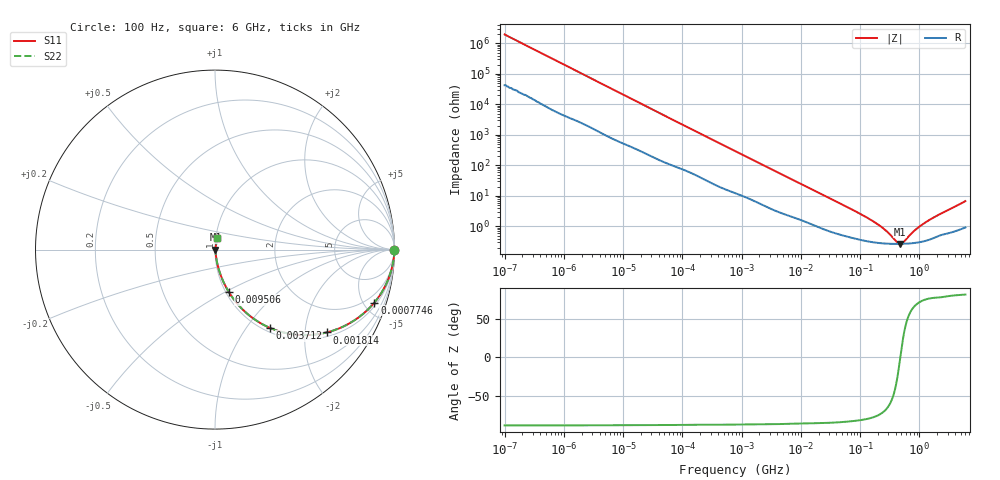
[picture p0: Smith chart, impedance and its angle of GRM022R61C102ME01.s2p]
!Murata Part Number: GRM022R61C102ME01
!These Parameters are Measured in Series Mode Connection
!Data Generated on Mar 30, 2021
!  o--ll--o
!Port1  Port2
!  o------o
!Operation Temp=25[degC], DC Bias Voltage=0[V]
!Freq. Start=100[Hz] Stop=6[GHz] 401[Steps]
# Hz S RI R 50
!Freq.(Hz) S11(Real) S11(Imag) S21(Real) S21(Imag) S12(Real) S12(Imag) S22(Real) S22(Imag)
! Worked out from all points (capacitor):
!   401 points, 100 Hz to 6 GHz, reference 50 ohm
!   read as one part in series: C = 803 pF near 109 Hz
!   lowest |Z| = 269 mohm at 467.5 MHz (marker M1)
!   series resonance near 477.5 MHz, so ESL is about 140 pH
!   S11 on the Smith chart (normalised r, x): 100 Hz: open; 774.6 kHz: 1.25, -5.93; 1.814 MHz: 1.12, -2.60; 3.712 MHz: 1.07, -1.29; 9.506 MHz: 1.03, -0.52; 6 GHz: 1.02, +0.13
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100  1 -5.07e-05  1.1e-06 5.07e-05  1.1e-06 5.07e-05  1 -5.07e-05
214  1 -0.000107  2.4e-06 0.000107  2.4e-06 0.000107  1 -0.000107
2008  1 -0.000977  2.42e-05 0.000977  2.42e-05 0.000977  1 -0.000977
40335  0.9991 -0.0187  0.000878 0.0187  0.000878 0.0187  0.9991 -0.0187
221108  0.9869 -0.0971  0.0131 0.0971  0.0131 0.0971  0.9869 -0.0971
774597  0.8881 -0.295  0.1119 0.295  0.1119 0.295  0.8881 -0.295
1159002  0.7904 -0.3848  0.2096 0.3848  0.2096 0.3848  0.7904 -0.3848
1813585  0.6229 -0.4614  0.3771 0.4614  0.3771 0.4614  0.6229 -0.4614
3712478  0.3048 -0.4358  0.6952 0.4358  0.6952 0.4358  0.3048 -0.4358
5809218  0.1631 -0.3424  0.8369 0.3424  0.8369 0.3424  0.1631 -0.3424
9506416  0.0771 -0.2364  0.9229 0.2364  0.9229 0.2364  0.0771 -0.2364
1.555665e7  0.0362 -0.1547  0.9638 0.1547  0.9638 0.1547  0.0362 -0.1547
3.80911e7  0.0105 -0.067  0.9895 0.067  0.9895 0.067  0.0105 -0.067
1.275994e8  0.00368 -0.0197  0.9963 0.0197  0.9963 0.0197  0.00368 -0.0197
2.183701e8  0.00293 -0.00992  0.9971 0.00992  0.9971 0.00992  0.00293 -0.00992
3.124326e8  0.00272 -0.00503  0.9973 0.00503  0.9973 0.00503  0.00272 -0.00503
4.087225e8  0.00267 -0.0018  0.9973 0.0018  0.9973 0.0018  0.00267 -0.0018
4.674818e8  0.00267 -0.000242  0.9973 0.000242  0.9973 0.000242  0.00267 -0.000242
5.346885e8  0.00269 0.00131  0.9973 -0.00131  0.9973 -0.00131  0.00269 0.00131
8.366708e8  0.00292 0.0068  0.9971 -0.0068  0.9971 -0.0068  0.00292 0.0068
1.309207e9  0.00359 0.0136  0.9964 -0.0136  0.9964 -0.0136  0.00359 0.0136
6e9  0.0136 0.0657  0.9864 -0.0657  0.9864 -0.0657  0.0136 0.0657
